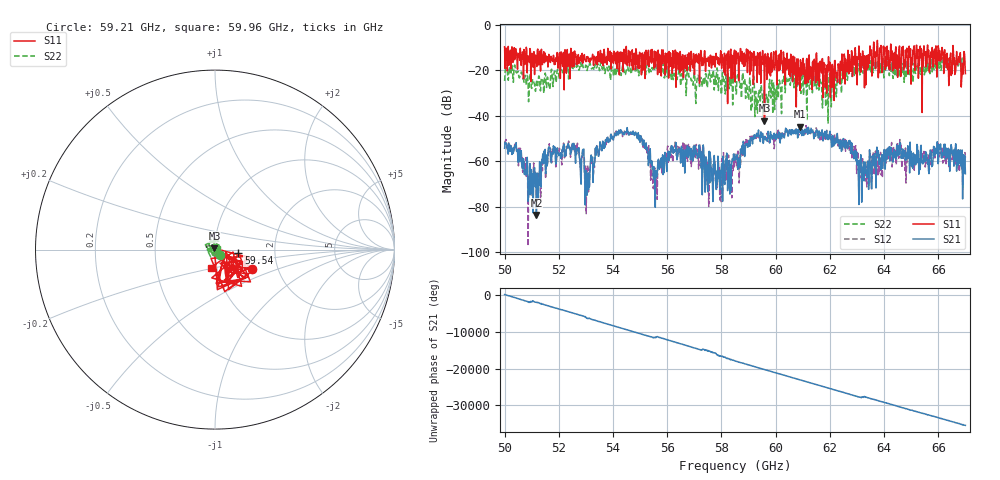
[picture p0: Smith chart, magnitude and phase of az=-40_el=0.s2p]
!Created with skrf (http://scikit-rf.org).
# GHz S RI R 50.0
!freq ReS11 ImS11 ReS21 ImS21 ReS12 ImS12 ReS22 ImS22
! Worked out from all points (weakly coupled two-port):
!   1001 points, 50 GHz to 67 GHz, reference 50 ohm
!   highest |S21| = -44.87 dB at 60.9 GHz (marker M1); lowest = -83.6 dB at 51.17 GHz (marker M2)
!   lowest |S11| = -42.2 dB at 59.59 GHz (marker M3), VSWR 1.02, Z = 49.7 + j0.705 ohm
!   |S11| at or under -10 dB: 50.8 GHz to 54.49 GHz (3.688 GHz wide, 7.01 % of centre); 54.49 GHz to 63.07 GHz (8.582 GHz wide, 14.6 % of centre); 66.01 GHz to 66.54 GHz (533.3 MHz wide, 0.805 % of centre) (the widest 3 of 26)
!   |S22| runs from -43.3 to -14.0 dB; largest |S21 - S12| = 0.0023
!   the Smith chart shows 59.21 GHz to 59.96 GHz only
!   S11 on the Smith chart (normalised r, x): 59.21 GHz: 1.48, -0.35; 59.54 GHz: 1.30, -0.05; 59.96 GHz: 0.93, -0.19
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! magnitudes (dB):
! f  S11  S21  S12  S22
! 50 GHz  -9.8  -54.3  -52.2  -24.8
! 51.17 GHz  -15.6  -83.6  -77.2  -25.2
! 51.68 GHz  -16.7  -55.1  -54.6  -26.7
! 52.84 GHz  -13.4  -58.1  -57.8  -19.0
! 53.06 GHz  -14.1  -67.0  -61.6  -19.1
! 53.47 GHz  -13.7  -57.9  -58.2  -17.8
! 54.71 GHz  -11.1  -48.2  -47.3  -18.8
! 55.54 GHz  -15.9  -70.1  -63.1  -19.2
! 55.68 GHz  -13.8  -59.2  -62.5  -21.1
! 56.38 GHz  -17.3  -58.2  -57.9  -23.2
! 57.73 GHz  -14.7  -57.5  -60.9  -28.7
! 58.5 GHz  -25.2  -59.5  -59.8  -24.0
! 59.21 GHz  -12.5  -48.5  -48.5  -27.4
! 59.54 GHz  -17.6  -52.2  -49.8  -39.7
! 59.59 GHz  -42.2  -50.3  -49.4  -32.1
! 59.96 GHz  -19.7  -49.9  -52.0  -37.3
! 60.9 GHz  -29.0  -44.9  -47.1  -25.8
! 61.34 GHz  -28.5  -47.4  -47.1  -26.6
! 62.75 GHz  -18.4  -52.3  -53.3  -19.3
! 63.14 GHz  -20.9  -57.2  -65.0  -17.0
! 64.18 GHz  -19.5  -57.4  -54.8  -19.1
! 67 GHz  -21.6  -65.6  -58.5  -16.2
